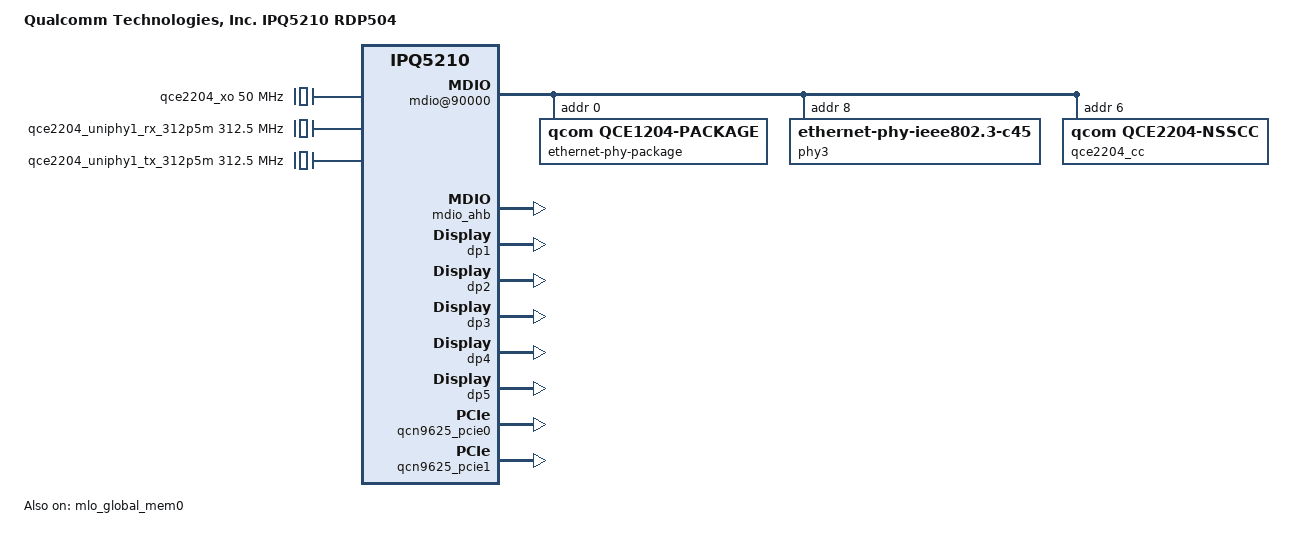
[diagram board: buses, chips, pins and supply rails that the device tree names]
// SPDX-License-Identifier: (GPL-2.0+ OR BSD-3-Clause)
/*
 * IPQ5210 RDP504 board device tree source
 *
 * Copyright (c) 2020-2021 The Linux Foundation. All rights reserved.
 * Copyright (c) Qualcomm Technologies, Inc. and/or its subsidiaries.
 */

/dts-v1/;

#include "ipq5210-rdp-common.dtsi"
#include "ipq5210-default-memory.dtsi"
#include <dt-bindings/clock/qcom,qce2204-nsscc.h>
#include <dt-bindings/reset/qcom,qce2204-nsscc.h>

/ {
	model = "Qualcomm Technologies, Inc. IPQ5210 RDP504";
	compatible = "qcom,ipq5210-rdp504", "qcom,ipq5210";

	aliases {
		serial0 = &uart1;
		ethernet0 = "/soc/dp1";
		ethernet1 = "/soc/dp2";
		ethernet2 = "/soc/dp3";
		ethernet3 = "/soc/dp4";
		ethernet4 = "/soc/dp5";
	};

	clocks {
		qce2204_xo: qce2204-xo {
			compatible = "fixed-clock";
			clock-frequency = <50000000>;
			#clock-cells = <0>;
		};

		qce2204_uniphy1_rx_312p5m: qce2204-uniphy1-rx-312p5m {
			compatible = "fixed-clock";
			clock-frequency = <312500000>;
			#clock-cells = <0>;
		};

		qce2204_uniphy1_tx_312p5m: qce2204-uniphy1-tx-312p5m {
			compatible = "fixed-clock";
			clock-frequency = <312500000>;
			#clock-cells = <0>;
		};
	};

	soc@0 {
		mdio@90000 {
			status = "okay";
			/* gpio reset for PHYs */
			phy-reset-gpio = <
				&tlmm 24 GPIO_ACTIVE_LOW
				&tlmm 45 GPIO_ACTIVE_LOW
			>;
			ethernet-phy-package@0 {
				compatible = "qcom,qce1204-package";
				#address-cells = <1>;
				#size-cells = <0>;
				reg = <0>;
				qcom,package-mode = "qusgmii";
				clocks =<&qce2204_cc QCE2204_NSSCC_SRDS1_SYS_CLK>,
					<&qce2204_cc QCE2204_NSSCC_MAC1_SRDS1_CH0_TX_CLK>,
					<&qce2204_cc QCE2204_NSSCC_MAC1_SRDS1_CH0_RX_CLK>,
					<&qce2204_cc QCE2204_NSSCC_MAC0_1_SRDS1_CH0_XGMII_TX_CLK>,
					<&qce2204_cc QCE2204_NSSCC_MAC0_1_SRDS1_CH0_XGMII_RX_CLK>,
					<&qce2204_cc QCE2204_NSSCC_MAC2_SRDS1_CH1_TX_CLK>,
					<&qce2204_cc QCE2204_NSSCC_MAC2_SRDS1_CH1_RX_CLK>,
					<&qce2204_cc QCE2204_NSSCC_MAC2_SRDS1_CH1_XGMII_TX_CLK>,
					<&qce2204_cc QCE2204_NSSCC_MAC2_SRDS1_CH1_XGMII_RX_CLK>,
					<&qce2204_cc QCE2204_NSSCC_MAC3_SRDS1_CH2_TX_CLK>,
					<&qce2204_cc QCE2204_NSSCC_MAC3_SRDS1_CH2_RX_CLK>,
					<&qce2204_cc QCE2204_NSSCC_MAC3_SRDS1_CH2_XGMII_TX_CLK>,
					<&qce2204_cc QCE2204_NSSCC_MAC3_SRDS1_CH2_XGMII_RX_CLK>,
					<&qce2204_cc QCE2204_NSSCC_AHB_CLK>,
					<&qce2204_uniphy1_rx_312p5m>,
					<&qce2204_uniphy1_tx_312p5m>;
				clock-names = "pcs_sys_clk",
					      "ch0_gmii_tx_clk",
					      "ch0_gmii_rx_clk",
					      "ch0_xgmii_tx_clk",
					      "ch0_xgmii_rx_clk",
					      "ch1_gmii_tx_clk",
					      "ch1_gmii_rx_clk",
					      "ch1_xgmii_tx_clk",
					      "ch1_xgmii_rx_clk",
					      "ch2_gmii_tx_clk",
					      "ch2_gmii_rx_clk",
					      "ch2_xgmii_tx_clk",
					      "ch2_xgmii_rx_clk",
					      "ahb_clk",
					      "tx_parent",
					      "rx_parent";
				resets = <&qce2204_cc QCE2204_NSSCC_SRDS1_SYS_ARES>,
					 <&qce2204_cc QCE2204_NSSCC_MAC1_SRDS1_CH0_TX_ARES>,
					 <&qce2204_cc QCE2204_NSSCC_MAC1_SRDS1_CH0_RX_ARES>,
					 <&qce2204_cc QCE2204_NSSCC_MAC0_1_SRDS1_CH0_XGMII_TX_ARES>,
					 <&qce2204_cc QCE2204_NSSCC_MAC0_1_SRDS1_CH0_XGMII_RX_ARES>,
					 <&qce2204_cc QCE2204_NSSCC_MAC2_SRDS1_CH1_TX_ARES>,
					 <&qce2204_cc QCE2204_NSSCC_MAC2_SRDS1_CH1_RX_ARES>,
					 <&qce2204_cc QCE2204_NSSCC_MAC2_SRDS1_CH1_XGMII_TX_ARES>,
					 <&qce2204_cc QCE2204_NSSCC_MAC2_SRDS1_CH1_XGMII_RX_ARES>,
					 <&qce2204_cc QCE2204_NSSCC_MAC3_SRDS1_CH2_TX_ARES>,
					 <&qce2204_cc QCE2204_NSSCC_MAC3_SRDS1_CH2_RX_ARES>,
					 <&qce2204_cc QCE2204_NSSCC_MAC3_SRDS1_CH2_XGMII_TX_ARES>,
					 <&qce2204_cc QCE2204_NSSCC_MAC3_SRDS1_CH2_XGMII_RX_ARES>,
					 <&qce2204_cc QCE2204_NSSCC_SRDS1_XPCS_ARES>;
				reset-names = "pcs_sys_reset",
					      "ch0_gmii_tx_reset",
					      "ch0_gmii_rx_reset",
					      "ch0_xgmii_tx_reset",
					      "ch0_xgmii_rx_reset",
					      "ch1_gmii_tx_reset",
					      "ch1_gmii_rx_reset",
					      "ch1_xgmii_tx_reset",
					      "ch1_xgmii_rx_reset",
					      "ch2_gmii_tx_reset",
					      "ch2_gmii_rx_reset",
					      "ch2_xgmii_tx_reset",
					      "ch2_xgmii_rx_reset",
					      "xpcs";

				phy0: ethernet-phy@0 {
					compatible = "ethernet-phy-ieee802.3-c45";
					reg = <0x0>;
					clocks = <&qce2204_cc QCE2204_NSSCC_MAC1_GEPHY0_TX_CLK>,
						 <&qce2204_cc QCE2204_NSSCC_MAC1_GEPHY0_RX_CLK>,
						 <&qce2204_cc QCE2204_NSSCC_GEPHY0_SYS_CLK>,
						 <&qce2204_cc QCE2204_NSSCC_MAC1_TX_CLK_SRC>,
						 <&qce2204_cc QCE2204_NSSCC_MAC1_RX_CLK_SRC>;
					clock-names = "tx_clk",
						      "rx_clk",
						      "sys_clk",
						      "tx_src_clk",
						      "rx_src_clk";
					resets = <&qce2204_cc QCE2204_NSSCC_MAC1_GEPHY0_TX_ARES>,
						 <&qce2204_cc QCE2204_NSSCC_MAC1_GEPHY0_RX_ARES>,
						 <&qce2204_cc QCE2204_NSSCC_GEPHY0_SYS_ARES>;
					reset-names = "tx_reset",
						      "rx_reset",
						      "sys_reset";
				};

				phy1: ethernet-phy@1 {
					compatible = "ethernet-phy-ieee802.3-c45";
					reg = <0x1>;
					clocks = <&qce2204_cc QCE2204_NSSCC_MAC2_GEPHY1_TX_CLK>,
						 <&qce2204_cc QCE2204_NSSCC_MAC2_GEPHY1_RX_CLK>,
						 <&qce2204_cc QCE2204_NSSCC_GEPHY1_SYS_CLK>,
						 <&qce2204_cc QCE2204_NSSCC_MAC2_TX_CLK_SRC>,
						 <&qce2204_cc QCE2204_NSSCC_MAC2_RX_CLK_SRC>;
					clock-names = "tx_clk",
						      "rx_clk",
						      "sys_clk",
						      "tx_src_clk",
						      "rx_src_clk";
					resets = <&qce2204_cc QCE2204_NSSCC_MAC2_GEPHY1_TX_ARES>,
						 <&qce2204_cc QCE2204_NSSCC_MAC2_GEPHY1_RX_ARES>,
						 <&qce2204_cc QCE2204_NSSCC_GEPHY1_SYS_ARES>;
					reset-names = "tx_reset",
						      "rx_reset",
						      "sys_reset";
				};

				phy2: ethernet-phy@2 {
					compatible = "ethernet-phy-ieee802.3-c45";
					reg = <0x2>;
					clocks = <&qce2204_cc QCE2204_NSSCC_MAC3_GEPHY2_TX_CLK>,
						 <&qce2204_cc QCE2204_NSSCC_MAC3_GEPHY2_RX_CLK>,
						 <&qce2204_cc QCE2204_NSSCC_GEPHY2_SYS_CLK>,
						 <&qce2204_cc QCE2204_NSSCC_MAC3_TX_CLK_SRC>,
						 <&qce2204_cc QCE2204_NSSCC_MAC3_RX_CLK_SRC>;
					clock-names = "tx_clk",
						      "rx_clk",
						      "sys_clk",
						      "tx_src_clk",
						      "rx_src_clk";
					resets = <&qce2204_cc QCE2204_NSSCC_MAC3_GEPHY2_TX_ARES>,
						 <&qce2204_cc QCE2204_NSSCC_MAC3_GEPHY2_RX_ARES>,
						 <&qce2204_cc QCE2204_NSSCC_GEPHY2_SYS_ARES>;
					reset-names = "tx_reset",
						      "rx_reset",
						      "sys_reset";
				};
			};

			phy3: ethernet-phy@8 {
				reg = <8>;
				compatible ="ethernet-phy-ieee802.3-c45";
			};

			/* Clock controller */
			qce2204_cc: clock-controller@6 {
				compatible = "qcom,qce2204-nsscc";
				reg = <6>;
				#clock-cells = <1>;
				#reset-cells = <1>;
				clocks = <&qce2204_xo>,
					 <0>,
					 <0>,
					 <0>,
					 <0>,
					 <0>,
					 <0>,
					 <0>,
					 <&qce2204_uniphy1_rx_312p5m>,
					 <&qce2204_uniphy1_tx_312p5m>;
				clock-names = "xo",
					      "uniphy0_rx",
					      "uniphy0_tx",
					      "uniphy1_rx",
					      "uniphy1_tx",
					      "uniphy1_ppe_250m",
					      "uniphy0_rx_312p5m",
					      "uniphy0_tx_312p5m",
					      "uniphy1_rx_312p5m",
					      "uniphy1_tx_312p5m";
				assigned-clocks = <&qce2204_cc QCE2204_NSSCC_SRDS1_RX_MUX_SEL>,
						  <&qce2204_cc QCE2204_NSSCC_SRDS1_TX_MUX_SEL>,
						  <&qce2204_cc QCE2204_NSSCC_SRDS1_XGMII_RX_MUX_SEL>,
						  <&qce2204_cc QCE2204_NSSCC_SRDS1_XGMII_TX_MUX_SEL>;
				assigned-clock-parents = <&qce2204_cc QCE2204_NSSCC_MAC1_TX_DIV_CLK_SRC>,
							 <&qce2204_cc QCE2204_NSSCC_MAC1_RX_DIV_CLK_SRC>,
							 <&qce2204_cc QCE2204_NSSCC_MAC1_SRDS1_CH0_XGMII_RX_DIV_CLK_SRC>,
							 <&qce2204_cc QCE2204_NSSCC_MAC1_SRDS1_CH0_XGMII_TX_DIV_CLK_SRC>;
			};
		};

		mdio_ahb: mdio-ahb@1400000 {
			status = "okay";
			compatible = "qcom,mdio-ahb-ipq52xx";
			reg = <0x1400000 0x200000>;  /* Base address: 0x1400000, Size: 2MB */
		};

		ess-instance {
			num_devices = <0x1>;

			ess_switch: ess-switch@3a000000 {
				switch_lan_bmp = <0x1e>; /* lan port bitmap */
				switch_wan_bmp = <0x20>; /* wan port bitmap */
				switch_mac_mode = <0x15>; /* UQXGMII for qce1204 PHY */
				switch_mac_mode1 = <0xd>; /* USXGMII for Laguna PHY */
				switch_mac_mode2 = <0xff>; /* unused */

				qcom,port_phyinfo {
					port@0 {
						port_id = <1>;
						phy_address = <0>;
						phy-handle = <&phy0>;
						phy-mode = "qusgmii";
						port_mac_sel = "QGMAC_PORT";
						ethernet-phy-ieee802.3-c45;
					};
					port@1 {
						port_id = <2>;
						phy_address = <1>;
						phy-handle = <&phy1>;
						phy-mode = "qusgmii";
						port_mac_sel = "QGMAC_PORT";
						ethernet-phy-ieee802.3-c45;
					};
					port@2 {
						port_id = <3>;
						phy_address = <2>;
						phy-handle = <&phy2>;
						phy-mode = "qusgmii";
						port_mac_sel = "QGMAC_PORT";
						ethernet-phy-ieee802.3-c45;
					};
					port@3 {
						port_id = <4>;
						phy-mode = "internal";
					};
					port@4 {
						port_id = <5>;
						phy_address = <8>;
						phy-handle = <&phy3>;
						phy-mode = "usxgmii";
						ethernet-phy-ieee802.3-c45;
					};
				};
			};
		};

		dp1 {
			device_type = "network";
			compatible = "qcom,nss-dp";
			qcom,id = <1>;
			reg = <0x3a001000 0x200>;
			qcom,mactype = <0>;
			local-mac-address = [000000000000];
			qcom,ppe-offload-disabled = <0>;
		};

		dp2 {
			device_type = "network";
			compatible = "qcom,nss-dp";
			qcom,id = <2>;
			reg = <0x3a001200 0x200>;
			qcom,mactype = <0>;
			local-mac-address = [000000000000];
			qcom,ppe-offload-disabled = <0>;
		};


		dp3 {
			device_type = "network";
			compatible = "qcom,nss-dp";
			qcom,id = <3>;
			reg = <0x3a001400 0x200>;
			qcom,mactype = <0>;
			local-mac-address = [000000000000];
			qcom,ppe-offload-disabled = <0>;
		};

		dp4 {
			device_type = "network";
			compatible = "qcom,nss-dp";
			qcom,id = <4>;
			reg = <0x3a001600 0x200>;
			qcom,mactype = <0>;
			local-mac-address = [000000000000];
			qcom,ppe-offload-disabled = <0>;
		};

		dp5 {
			device_type = "network";
			compatible = "qcom,nss-dp";
			qcom,id = <5>;
			reg = <0x3a001800 0x200>;
			qcom,mactype = <0>;
			local-mac-address = [000000000000];
			qcom,ppe-offload-disabled = <0>;
		};

	};
};

&tlmm {
	pcie0_default_state: pcie0-default-state {
		pins = "gpio32";
		function = "gpio";
		drive-strength = <6>;
		bias-pull-down;
		output-low;
	};

	pcie1_default_state: pcie1-default-state {
		pins = "gpio29";
		function = "gpio";
		drive-strength = <6>;
		bias-pull-down;
		output-low;
	};
};

&pcie0_phy {
	status = "disabled";
};

&pcie0 {
	pinctrl-0 = <&pcie0_default_state>;
	perst-gpio = <&tlmm 32 GPIO_ACTIVE_LOW>;
	status = "disabled";

	pcie0_rp {
		reg = <0 0 0 0 0>;
		qcom,mhi@0 {
			reg = <0 0 0 0 0>;
			memory-region = <&qcn9625_pcie0>, <&mlo_global_mem0>;
			memory-region-names = "host-ddr-mem", "mlo-global-mem";
			qcom,board_id = <0x1>;
			status = "okay";
			ports {
				#address-cells = <1>;
				#size-cells = <0>;

				port@0 {
					reg = <0>;
				};

				port@1 {
					reg = <1>;
				};
			};
		};
	};
};

&pcie1_phy {
	status = "disabled";
};

&pcie1 {
	pinctrl-0 = <&pcie1_default_state>;
	perst-gpio = <&tlmm 29 GPIO_ACTIVE_LOW>;
	status = "disabled";

	pcie0_rp {
		reg = <0 0 0 0 0>;
		qcom,mhi@0 {
			reg = <0 0 0 0 0>;
			memory-region = <&qcn9625_pcie1>, <&mlo_global_mem0>;
			memory-region-names = "host-ddr-mem", "mlo-global-mem";
			qcom,board_id = <0x4>;

			ports {
				#address-cells = <1>;
				#size-cells = <0>;

				port@0 {
					reg = <0>;
				};

				port@1 {
					reg = <1>;
				};
			};
		};
	};
};

&qcn9625_pcie0 {
	status = "okay";
};

&qcn9625_pcie1 {
	status = "okay";
};

&mlo_global_mem0 {
	status = "okay";
};

&qusb_phy_0 {
	status = "disabled";
};

&ssphy_0 {
	status = "disabled";
};

&usb3 {
	status = "disabled";
};
